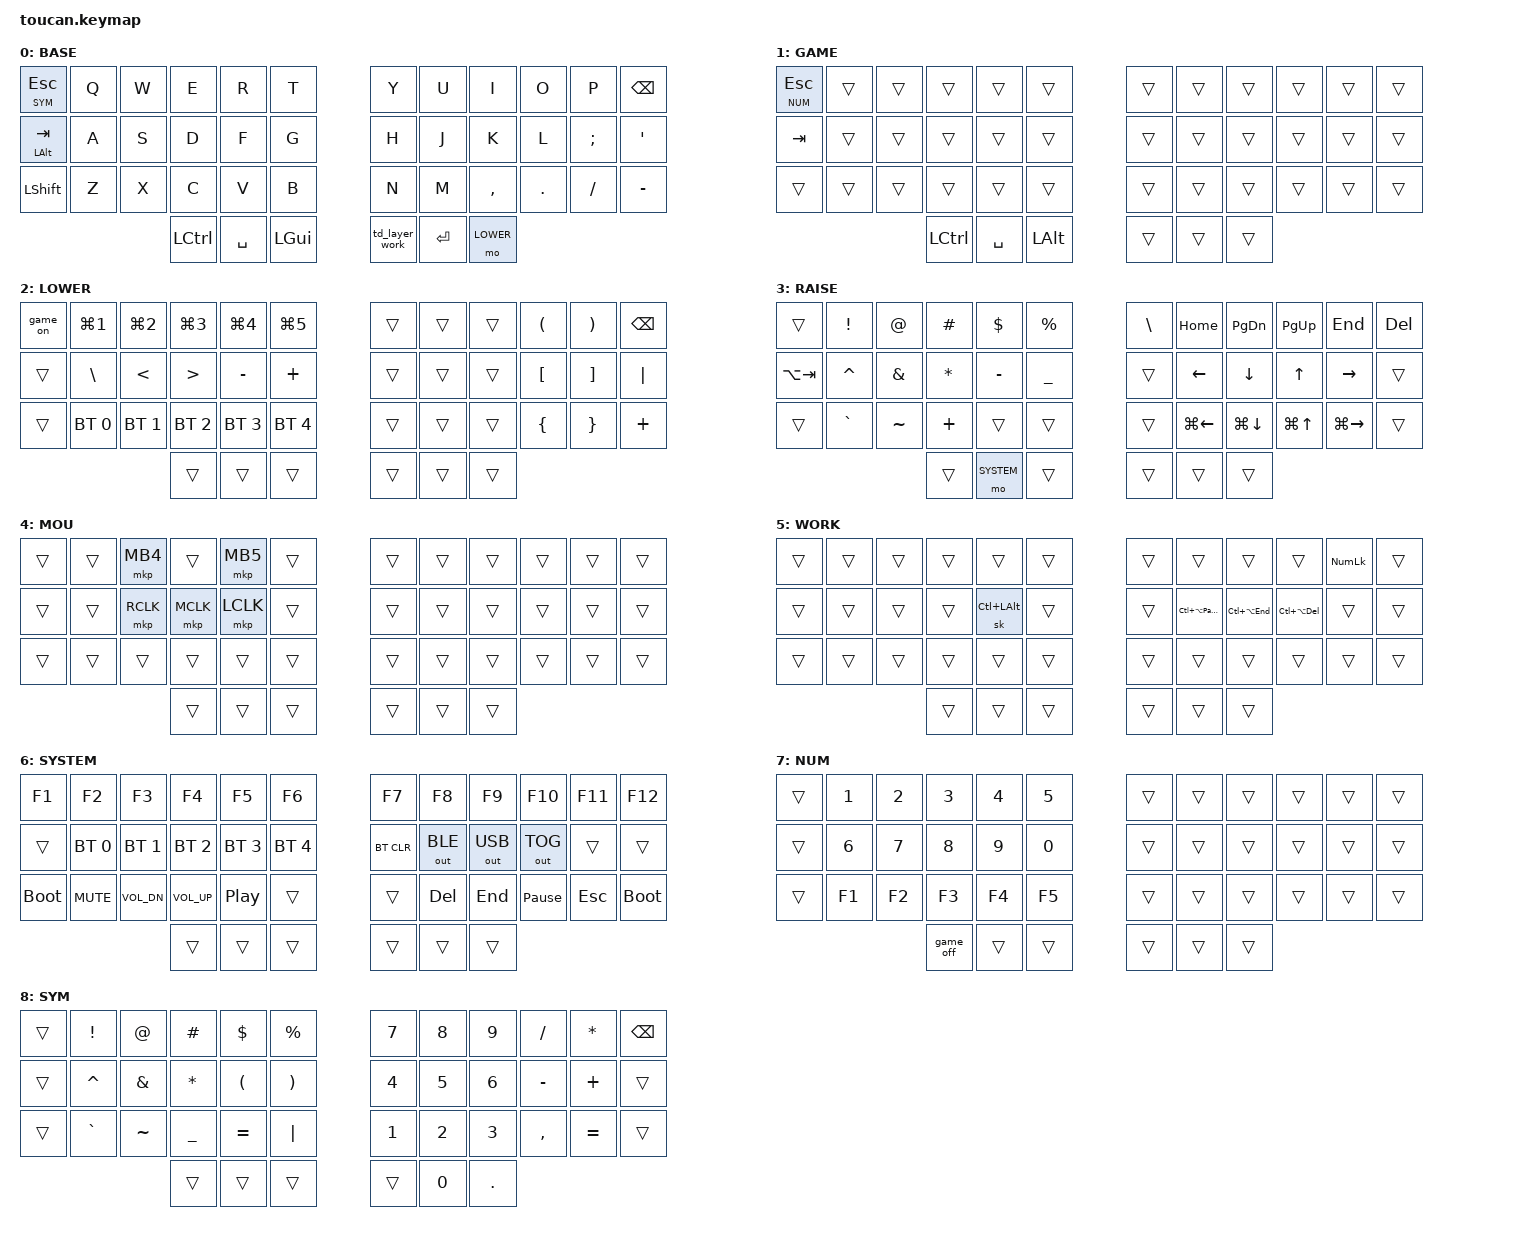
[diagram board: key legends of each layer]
/*
 * Alex's Toucan 2 keymap - ported from the Sofle Hybrid Ergomech keymap
 * (ShigglesAndGits/sofle-hybrid-ergomech, config/sofle_ergomech.keymap).
 *
 * The Toucan is 3x6 + 3 thumbs per side with no number row and no encoder.
 * Thumb assignments follow the Sofle keystroke captures (Aug 2026, 61.6k presses):
 *   left  outer->inner: CTRL (639), SPACE (8397), GUI (810)
 *   right inner->outer: RAISE/WORK (998), ENTER (583), LOWER (144)
 * Space and Enter are the centre thumbs (mirrored), and Ctrl stays just outside
 * Space as on the Sofle, per Alex.
 * CTRL is a plain thumb key because its top partners are Backspace (464),
 * V/A/C and Shift - a pinky mod-tap can't chord with A/Z/Shift.
 * GUI and RAISE stay on opposite hands for Super+RAISE+arrows (~1960 chords).
 * Alt, Del, Alt+Tab and sticky Ctrl+Alt were pressed 0 times, so they live
 * off the thumbs: Alt = hold Tab, Alt+Tab = RAISE+Tab, Del = RAISE+Backspace,
 * sticky Ctrl+Alt + Ctrl+Alt chords on WORK.
 *
 * SYM (hold Esc) = symbols + numbers in one layer: the shifted number row under
 * the left hand (!@#$% / ^&*()), the Sofle numpad under the right (7-8-9 on
 * Y-U-I) with 0 and . on the right thumbs.
 *
 * LOWER = Super+1-5 (workspaces) on the top row + brackets + operators + BLE
 * profiles + the GAME key. SYSTEM (used twice) = RAISE + the left centre
 * (Space) thumb.
 *
 * GAME (LOWER + Esc corner) = BASE with Alt/Space/Ctrl thumbs, plain Esc, and
 * numbers + F-keys under the left hand while the Esc corner is held (NUM).
 * Entering also jumps to the Play workspace (Super+L); leaving (hold the corner
 * + left outer thumb) jumps to workspace 1 (Super+1). GAME sits just above
 * BASE so LOWER/RAISE still work over it.
 *
 * Layer 4 MUST stay the mouse layer: toucan.dtsi's is_touching_processor
 * activates layer 4 while a finger is on the trackpad.
 */

#include <behaviors.dtsi>
#include <dt-bindings/zmk/keys.h>
#include <dt-bindings/zmk/bt.h>
#include <dt-bindings/zmk/outputs.h>
#include <dt-bindings/zmk/pointing.h>

#define BASE 0
#define GAME 1
#define LOWER 2
#define RAISE 3
#define MOUSE 4
#define WORK 5
#define SYSTEM 6
#define NUM 7
#define SYM 8

/ {
    behaviors {
        // RAISE keeps a tap dance so double-tap-hold reaches WORK (RDP chords).
        // 200ms term deliberate: 100ms made the WORK double-tap too tight.
        td_layer_work: tap_dance_layer_work {
            compatible = "zmk,behavior-tap-dance";
            #binding-cells = <0>;
            tapping-term-ms = <200>;
            bindings = <&mo RAISE>, <&mo WORK>;
        };

        // Tab: tap = Tab, hold = Alt. Tap-preferred so fast Tab-then-key rolls
        // never turn into Alt chords; Alt needs a deliberate 200ms hold.
        ht_alt: hold_alt_tap {
            compatible = "zmk,behavior-hold-tap";
            #binding-cells = <2>;
            flavor = "tap-preferred";
            tapping-term-ms = <200>;
            bindings = <&kp>, <&kp>;
        };

        // Esc corner: tap = Esc, hold = a layer (SYM on BASE, NUM in GAME).
        // Balanced, so holding the corner and tapping Q gives ! (or 1) even
        // inside the tapping term.
        ht_layer: hold_layer_tap {
            compatible = "zmk,behavior-hold-tap";
            #binding-cells = <2>;
            flavor = "balanced";
            tapping-term-ms = <200>;
            bindings = <&mo>, <&kp>;
        };
    };

    macros {
        // &to is idempotent, so pressing "game on" while already in GAME is harmless.
        game_on: game_on {
            compatible = "zmk,behavior-macro";
            #binding-cells = <0>;
            bindings = <&macro_tap &to GAME &kp LG(L)>;
        };

        game_off: game_off {
            compatible = "zmk,behavior-macro";
            #binding-cells = <0>;
            bindings = <&macro_tap &kp LG(N1) &to BASE>;
        };
    };

    keymap {
        compatible = "zmk,keymap";

        base {
            display-name = "BASE";

            // -------------------------------------------------------------------------------
            // |Esc/SYM|  Q  |  W  |  E   |  R   |  T   |   |  Y   |  U   |  I  |  O  |  P | BKSPC |
            // | TAB/A |  A  |  S  |  D   |  F   |  G   |   |  H   |  J   |  K  |  L  |  ; |   '   |
            // | SHIFT |  Z  |  X  |  C   |  V   |  B   |   |  N   |  M   |  ,  |  .  |  / |   -   |
            //                     | CTRL | SPACE| GUI  |   | RSE/WORK | ENTER | LOWER |
            // (Esc/SYM = tap Esc, hold SYM. TAB/A = tap Tab, hold Alt. Backspace and ' stay in their usual spots - moving
            //  Backspace to the pinky home key was tried and reverted. Right Shift was pressed
            //  once, so it's - / _.)

            bindings = <
&ht_layer SYM ESC     &kp Q  &kp W  &kp E     &kp R      &kp T          &kp Y           &kp U      &kp I      &kp O    &kp P     &kp BACKSPACE
&ht_alt LALT TAB      &kp A  &kp S  &kp D     &kp F      &kp G          &kp H           &kp J      &kp K      &kp L    &kp SEMI  &kp SQT
&kp LSHIFT            &kp Z  &kp X  &kp C     &kp V      &kp B          &kp N           &kp M      &kp COMMA  &kp DOT  &kp FSLH  &kp MINUS
                                    &kp LCTRL &kp SPACE  &kp LGUI       &td_layer_work  &kp ENTER  &mo LOWER
            >;
        };

        game {
            display-name = "GAME";

            // BASE with gaming thumbs; the right half stays BASE (chat types normally).
            // -------------------------------------------------------------------------------
            // | Esc/NUM |  Q  |  W  |  E  |  R  |  T  |   |                (BASE)                |
            // |   TAB   |  A  |  S  |  D  |  F  |  G  |   |                                      |
            // |  SHIFT  |  Z  |  X  |  C  |  V  |  B  |   |                                      |
            //                   | CTRL | SPACE| ALT |   |
            // Plain Esc (no hold-Alt delay, Alt is the thumb); Super is off the thumbs
            // so it can't be hit mid-game. Hold the Esc corner for NUM. Tab is a plain
            // Tab here (BASE's hold-for-Alt would break held scoreboards).

            bindings = <
&ht_layer NUM ESC    &trans  &trans  &trans    &trans     &trans       &trans  &trans  &trans  &trans  &trans  &trans
&kp TAB              &trans  &trans  &trans    &trans     &trans       &trans  &trans  &trans  &trans  &trans  &trans
&trans               &trans  &trans  &trans    &trans     &trans       &trans  &trans  &trans  &trans  &trans  &trans
                                     &kp LCTRL &kp SPACE  &kp LALT     &trans  &trans  &trans
            >;
        };

        lower {
            display-name = "LOWER";

            // -------------------------------------------------------------------------------
            // | GAME  | S+1 | S+2 | S+3  | S+4  | S+5  |   |      |      |     |  (  |  )  | BKSPC |
            // |       |  \  |  <  |  >   |  -   |  +   |   |      |      |     |  [  |  ]  |   |   |
            // |       | BT0 | BT1 | BT2  | BT3  | BT4  |   |      |      |     |  {  |  }  |   +   |
            //                     |      |      |      |   |      |      |  ▼  |
            // S+n = Super+n (Hyprland workspaces 1-5; add Shift to send the window there).
            // + on the - key (bottom right) so Ctrl+LOWER+- = Ctrl+Shift+= (zoom in).
            // Brackets stay on the Sofle's outer columns; numbers moved to SYM (hold Esc).
            // BLE profile select stays on the bottom-left row (Sofle spot).
            // GAME (Esc corner) = enter gaming mode + jump to the Play workspace.

            bindings = <
&game_on  &kp LG(N1)   &kp LG(N2)    &kp LG(N3)    &kp LG(N4)    &kp LG(N5)      &trans  &trans  &trans  &kp LPAR  &kp RPAR  &kp BACKSPACE
&trans  &kp BSLH      &kp LT        &kp GT        &kp MINUS     &kp PLUS        &trans  &trans  &trans  &kp LBKT  &kp RBKT  &kp PIPE
&trans  &bt BT_SEL 0  &bt BT_SEL 1  &bt BT_SEL 2  &bt BT_SEL 3  &bt BT_SEL 4    &trans  &trans  &trans  &kp LBRC  &kp RBRC  &kp PLUS
                                    &trans        &trans        &trans          &trans  &trans  &trans
            >;
        };

        raise {
            display-name = "RAISE";

            // -------------------------------------------------------------------------------
            // |       |  !  |  @  |  #   |  $   |  %   |   |  \   | HOME | PGDN | PGUP | END |  DEL  |
            // | A+TAB |  ^  |  &  |  *   |  -   |  _   |   |      |  <-  |  v   |  ^   |  -> |       |
            // |       |  `  |  ~  |  +   |      |      |   |      | S+<- | S+v  | S+^  | S+->|       |
            //                     |      |SYSTEM|      |   |  ▼   |      |      |
            // Left half = the Sofle number row's symbols. RAISE+Tab = Alt+Tab.
            // S+arrows = Super+arrow (Hyprland column focus, the top chord at 1340
            // presses) as a 2-key chord under the arrows. RAISE+Backspace = Del.
            // Holding the left centre (Space) thumb here reaches SYSTEM; Ctrl and Super
            // stay themselves so RAISE+Ctrl+arrows (word jumps) and Super+RAISE+arrows work.
            // Trackpad scrolls on this layer (see trackpad_listener override below).

            bindings = <
&trans        &kp EXCL   &kp AT     &kp HASH  &kp DLLR   &kp PRCNT     &kp BSLH  &kp HOME  &kp PG_DN  &kp PG_UP  &kp END    &kp DEL
&kp LA(TAB)   &kp CARET  &kp AMPS   &kp STAR  &kp MINUS  &kp UNDER     &trans    &kp LEFT  &kp DOWN   &kp UP     &kp RIGHT  &trans
&trans        &kp GRAVE  &kp TILDE  &kp PLUS  &trans     &trans        &trans    &kp LG(LEFT)  &kp LG(DOWN)  &kp LG(UP)  &kp LG(RIGHT)  &trans
                                    &trans    &mo SYSTEM &trans        &trans    &trans    &trans
            >;
        };

        // Active while a finger is on the trackpad (toucan.dtsi -> &mo 4).
        // Mouse buttons sit where they were on the Sofle's LOWER layer, no
        // layer key needed: W/R = back/forward, S/D/F = right/middle/left click.
        // Thumbs stay transparent so GUI/Ctrl/RAISE keep working mid-touch.
        mouse {
            display-name = "MOU";
            bindings = <
&trans  &trans  &mkp MB4   &trans     &mkp MB5   &trans    &trans  &trans  &trans  &trans  &trans  &trans
&trans  &trans  &mkp RCLK  &mkp MCLK  &mkp LCLK  &trans    &trans  &trans  &trans  &trans  &trans  &trans
&trans  &trans  &trans     &trans     &trans     &trans    &trans  &trans  &trans  &trans  &trans  &trans
                           &trans     &trans     &trans    &trans  &trans  &trans
            >;
        };

        work {
            display-name = "WORK";

            // Ctrl+Alt chords (KVM / remote-session control) + NumLock
            // -------------------------------------------------------------------------------
            // |  |  |  |  |     |  |   |         |         |        | NUMLK |  |  |
            // |  |  |  |  | sC+A|  |   |         | C-A-Brk | C-A-End| C-A-D |  |  |
            // |  |  |  |  |     |  |   |         |         |        |       |  |  |
            //          |  |     |  |   |         |         |        |
            // (sC+A = sticky Ctrl+Alt: tap, then tap any key to send Ctrl+Alt+key.)

            bindings = <
&trans  &trans  &trans  &trans  &trans          &trans    &trans  &trans                   &trans           &trans           &kp KP_NUM  &trans
&trans  &trans  &trans  &trans  &sk LC(LALT)    &trans    &trans  &kp LC(LA(PAUSE_BREAK))  &kp LC(LA(END))  &kp LC(LA(DEL))  &trans      &trans
&trans  &trans  &trans  &trans  &trans          &trans    &trans  &trans                   &trans           &trans           &trans      &trans
                        &trans  &trans          &trans    &trans  &trans                   &trans
            >;
        };

        system {
            display-name = "SYSTEM";

            // -------------------------------------------------------------------------------
            // |  F1   |  F2  |  F3  |  F4  |  F5  |  F6  |   |  F7    |  F8  |  F9  | F10  | F11 |  F12 |
            // |       | BT0  | BT1  | BT2  | BT3  | BT4  |   | BT_CLR | oBLE | oUSB | oTOG |     |      |
            // | BOOT  | MUTE | VOL- | VOL+ | PLAY |      |   |        | DEL  | END  | PAUSE| ESC | BOOT |
            //                       |      |  ▼   |      |   |   ▼    |      |      |
            // (oBLE/oUSB/oTOG = output endpoint selection; the preference persists in flash.
            //  MUTE/VOL/PLAY replace the Sofle encoders and the old ALT double-tap.
            //  BOOT = UF2 bootloader on the half it's pressed on, so flashing needs no
            //  reset button: left BOOT for the left half, right BOOT for the right.)

            bindings = <
&kp F1  &kp F2        &kp F3        &kp F4        &kp F5        &kp F6          &kp F7      &kp F8        &kp F9        &kp F10          &kp F11  &kp F12
&trans  &bt BT_SEL 0  &bt BT_SEL 1  &bt BT_SEL 2  &bt BT_SEL 3  &bt BT_SEL 4    &bt BT_CLR  &out OUT_BLE  &out OUT_USB  &out OUT_TOG     &trans   &trans
&bootloader  &kp C_MUTE  &kp C_VOL_DN  &kp C_VOL_UP  &kp C_PP  &trans     &trans      &kp DEL       &kp END       &kp PAUSE_BREAK  &kp ESC  &bootloader
                                    &trans        &trans        &trans          &trans      &trans        &trans
            >;
        };

        num {
            display-name = "NUM";

            // GAME + hold the Esc corner (pinky). Number-row columns: 1 sits over Q.
            // -------------------------------------------------------------------------------
            // |  ▼   |  1  |  2  |  3  |  4  |  5  |
            // |      |  6  |  7  |  8  |  9  |  0  |
            // |      | F1  | F2  | F3  | F4  | F5  |
            //               | DESK | CTRL | SPACE|
            // DESK = Super+1 and back to BASE (leave gaming mode).

            bindings = <
&trans  &kp N1  &kp N2  &kp N3     &kp N4  &kp N5       &trans  &trans  &trans  &trans  &trans  &trans
&trans  &kp N6  &kp N7  &kp N8     &kp N9  &kp N0       &trans  &trans  &trans  &trans  &trans  &trans
&trans  &kp F1  &kp F2  &kp F3     &kp F4  &kp F5       &trans  &trans  &trans  &trans  &trans  &trans
                        &game_off  &trans  &trans       &trans  &trans  &trans
            >;
        };

        sym {
            display-name = "SYM";

            // Hold the Esc corner (pinky). Left = the shifted number row, right = numpad.
            // -------------------------------------------------------------------------------
            // |  ▼    |  !  |  @  |  #   |  $   |  %   |   |  7   |  8   |  9  |  /  |  *  | BKSPC |
            // |       |  ^  |  &  |  *   |  (   |  )   |   |  4   |  5   |  6  |  -  |  +  |       |
            // |       |  `  |  ~  |  _   |  =   |  |   |   |  1   |  2   |  3  |  ,  |  =  |       |
            //                     |      |      |      |   |      |  0   |  .  |

            bindings = <
&trans  &kp EXCL   &kp AT     &kp HASH   &kp DLLR   &kp PRCNT     &kp N7  &kp N8  &kp N9  &kp FSLH   &kp STAR  &kp BACKSPACE
&trans  &kp CARET  &kp AMPS   &kp STAR   &kp LPAR   &kp RPAR      &kp N4  &kp N5  &kp N6  &kp MINUS  &kp PLUS  &trans
&trans  &kp GRAVE  &kp TILDE  &kp UNDER  &kp EQUAL  &kp PIPE      &kp N1  &kp N2  &kp N3  &kp COMMA  &kp EQUAL &trans
                              &trans     &trans     &trans        &trans  &kp N0  &kp DOT
            >;
        };

        extra_2 {
            status = "reserved";
        };

        extra_3 {
            status = "reserved";
        };
    };
};

// Scroll on RAISE only (Sofle behaviour). Stock Toucan also scrolls on layer 1,
// which would turn the pad into a scroller while the numpad (LOWER) is held.
&trackpad_listener {
    scroller {
        layers = <RAISE>;
    };
};

// 3-finger swipes (N, E, S, W) = Super+arrows, i.e. Hyprland column focus.
// Stock sent Ctrl+Super+arrows, which is moveintogroup (window tabbing) here.
&swipe_button_mapper {
    bindings = <&kp LG(UP)>, <&kp LG(RIGHT)>, <&kp LG(DOWN)>, <&kp LG(LEFT)>;
};

// Pinch = Ctrl+-/= (browser/app zoom). Stock Super+-/= is unbound in Hyprland.
&zip_zoom_mapper {
    bindings = <&kp LC(MINUS)>, <&kp LC(EQUAL)>;
};
